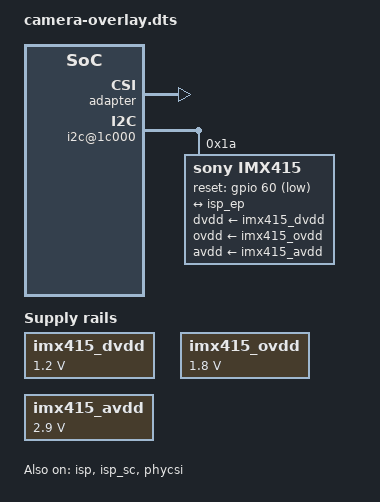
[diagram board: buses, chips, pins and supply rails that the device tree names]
/dts-v1/;
/plugin/;

/*
 * Radxa Zero 2 Pro (Amlogic A311D) + Radxa 4K Camera (IMX415) overlay.
 *
 * Ties together, in one compile+apply unit (avoids needing cross-overlay
 * __symbols__/__fixups__ ordering):
 *   fragment@0: isp_clkc  - the auxiliary clock provider (isp_clkc.ko)
 *               registering the 7 ISP/CSI/gen_clk clocks this kernel's
 *               built-in amlogic,g12b-clkc driver doesn't have. See
 *               isp_clkc.c / PORT_NOTES.md in build-clk/.
 *   fragment@1: isp@ff140000 / isp-adapter@ff650000 / phy-csi@ff650000 -
 *               the vendor ISP/CSI2-PHY hardware nodes (iv009_isp.ko),
 *               register layout from mesong12b.dtsi (khadas-vims-4.9.y),
 *               clocks repointed at &isp_clkc instead of the vendor's
 *               &clkc (which doesn't have them on this kernel).
 *   fragment@2: the imx415 i2c child node under i2c3 (already enabled and
 *               live as /dev/i2c-3 on this board - confirmed via the
 *               official schematic, see below).
 *   fragment@3: three always-on regulator-fixed stand-ins for imx415's
 *               dvdd/ovdd/avdd supplies.
 *
 * Hardware facts below are from Radxa's official
 * radxa_zero_2_pro_v1.2_schematic.pdf (pages 6 "GPIO", 9 "CPU I/O" and 13
 * "Panel/CAM/40PIN"), cross-checked against the live board:
 *   - CSI connector (J5002, 31-pin 0.3mm FPC) MIPI_CSI_D0..D3 + CLKA data/
 *     clock lanes wire straight to the A311D's own CSI PHY pins - these
 *     are silicon-fixed, nothing to configure in DT beyond the phy-csi
 *     node itself (already vendor-defined, unchanged).
 *   - CM_MCLK (J5002 pin 21, "CAM0-CLK") is ball AU36 = GPIOAO_10, and the
 *     function it needs is the SoC's CLK12_24 output.
 *
 *     This is NOT gen_clk. gen_clk (GEN_CLK_EE/GEN_CLK_AO) comes out on
 *     GPIOAO_11 (ball BF16), which this board routes to the *panel*
 *     connector - it is not connected to the camera at all. An earlier
 *     revision of this overlay clocked the sensor from gen_clk on the
 *     assumption that GPIOAO_10's CLK12_24 "was" gen_clk; it can never
 *     have worked.
 *
 *     Mainline's pinctrl-meson-g12a.c has no group for CLK12_24 (on
 *     GPIOAO_10 it models only cec_ao_a=1, cec_ao_b=2, tdm_ao_b_din1=6),
 *     so this cannot be selected with pinctrl-0 from DT. The ao_mclk
 *     module pokes the mux field directly instead; see ao-mclk/ao_mclk.c.
 *     Verified on hardware: with no MCLK the sensor does not ACK at 0x1a
 *     for ANY combination of the reset/power-down/frame-sync GPIOs.
 *   - CM_I2C_SCL/CM_I2C_SDA (connector pins 25/26) are the *same net* as
 *     the 40-pin header's I2C pins 3/5 -> i2c3
 *     (/soc/bus@ffd00000/i2c@1c000), already status=okay by default.
 *     Confirmed live: /dev/i2c-3 maps to ffd1c000.i2c, and its only other
 *     occupant is fusb302 (USB-C PD) at 0x22 - no clash with the sensor's
 *     0x1a. No i2c-enable overlay needed.
 *   - Camera control GPIOs, from schematic page 6 (these were previously
 *     unknown and are now pinned down):
 *         CM_RST_L    -> GPIOA_11 (ball G22) -> &gpio line 60, active low
 *         CM_PWRDN_1  -> GPIOA_10 (ball G25) -> &gpio line 59
 *         CM_FS       -> GPIOA_6  (ball E15) -> &gpio line 55
 *     Only reset is wired up below; empirically the sensor enumerates on
 *     i2c with PWRDN/FS left alone, so they are deliberately not driven.
 *   - The connector takes fixed VCC3.3V/VCC5V with no software power gate,
 *     which is why the regulators in fragment@3 are always-on stand-ins.
 */

/ {
	fragment@0 {
		target-path = "/soc/bus@ff600000/bus@3c000/system-controller@0";

		__overlay__ {
			isp_clkc: isp-clkc {
				compatible = "radxa,zero2pro-isp-clkc";
				#clock-cells = <1>;
				status = "okay";
			};
		};
	};

	fragment@1 {
		target-path = "/";

		__overlay__ {
			isp: isp@ff140000 {
				compatible = "arm, isp";
				reg = <0x0 0xff140000 0x0 0x00040000>;
				reg-names = "ISP";
				isp-efuse = <0xff630038 0x4000>;
				interrupts = <0 142 4>;
				interrupt-names = "ISP";
				temper-buf-size = <24>;
				clocks = <&isp_clkc 0>, <&isp_clkc 1>;
				clock-names = "cts_mipi_isp_clk_composite",
					      "cts_mipi_csi_phy_clk0_composite";
				/* Points at the SCALER, not the adapter -
				 * matches mesong12b.dtsi's isp node
				 * (`link-device = <&isp_sc>`). Pointing this
				 * at &adapter makes am_sc_parse_dt() fail its
				 * of_device_is_compatible(node, "amlogic,
				 * isp-sc") test with "Error match compatible".
				 * Only phy-csi below links to &adapter.
				 */
				link-device = <&isp_sc>;
				status = "okay";

				port {
					isp_ep: endpoint {
						remote-endpoint = <&imx415_ep>;
					};
				};
			};

			/* Scaler block, verbatim from mesong12b.dtsi. Parsed by
			 * system_am_sc.c via the isp node's link-device phandle;
			 * it is not a platform driver of its own, so it needs no
			 * compatible match in any module - just the node.
			 */
			isp_sc: isp-sc@ff655400 {
				compatible = "amlogic, isp-sc";
				reg = <0x0 0xff655400 0x0 0x00001000>;
				reg-names = "isp_sc";
				interrupts = <0 17 4>;
				interrupt-names = "isp_sc";
				status = "okay";
			};

			adapter: isp-adapter@ff650000 {
				compatible = "amlogic, isp-adapter";
				reg = <0x0 0xff650000 0x0 0x00006000>;
				reg-names = "adapter";
				interrupts = <0 179 4>;
				interrupt-names = "adapter-irq";
				mem_alloc = <48>;
				status = "okay";
			};

			phycsi: phy-csi@ff650000 {
				compatible = "amlogic, phy-csi";
				reg = <0x0 0xff650000 0x0 0x00002000>,
				      <0x0 0xff652000 0x0 0x00002000>,
				      <0x0 0xff63c300 0x0 0x00000100>,
				      <0x0 0xff654000 0x0 0x00000100>,
				      <0x0 0xff654400 0x0 0x00000100>;
				reg-names = "csi2_phy0", "csi2_phy1", "aphy_reg",
					    "csi0_host", "csi1_host";
				interrupts = <0 41 4>,
					     <0 42 4>,
					     <0 72 4>,
					     <0 74 4>,
					     <0 87 4>,
					     <0 88 4>;
				interrupt-names = "phy0-irq",
						  "phy1-irq",
						  "csi-host0-intr2",
						  "csi-host0-intr1",
						  "csi-host1-intr2",
						  "csi-host1-intr1";
				link-device = <&adapter>;
				status = "okay";
			};
		};
	};

	fragment@2 {
		/* i2c3 = /soc/bus@ffd00000/i2c@1c000, already enabled by
		 * default on this board (meson-g12-i2c-ee-m3-a.dtbo ships
		 * without .disabled) and confirmed the same physical bus as
		 * the CSI connector's CM_I2C_SCL/SDA net - see header comment.
		 */
		target-path = "/soc/bus@ffd00000/i2c@1c000";

		__overlay__ {
			#address-cells = <1>;
			#size-cells = <0>;

			imx415: camera-sensor@1a {
				compatible = "sony,imx415";
				reg = <0x1a>;

				/*
				 * The sensor's actual INCK is the SoC's
				 * CLK12_24 output on GPIOAO_10, which Linux
				 * does not model as a clock at all (mainline
				 * has neither the clock nor the pinctrl
				 * function) - it is switched on by the
				 * ao_mclk module, not by the clk framework.
				 * imx415.c only ever calls clk_get_rate() on
				 * this, so a fixed-clock stating the true
				 * 24 MHz is both sufficient and honest.
				 *
				 * NOTE: this was previously <&isp_clkc 6>
				 * (gen_clk). That was wrong: gen_clk comes out
				 * on GPIOAO_11, which the schematic shows
				 * going to the *panel* connector, not the
				 * camera - so it could never have clocked the
				 * sensor no matter what it was set to.
				 */
				clocks = <&imx415_inck>;
				clock-names = "inck";

				dvdd-supply = <&imx415_dvdd>;
				ovdd-supply = <&imx415_ovdd>;
				avdd-supply = <&imx415_avdd>;

				/*
				 * CM_RST_L = GPIOA_11 (ball G22), from
				 * schematic page 6; GPIOA_11 is pin/line 60 of
				 * the periphs bank (&gpio). Active low, as the
				 * _L suffix implies. Letting imx415.c own this
				 * means the sensor gets a proper reset pulse
				 * at power-on instead of relying on whatever
				 * state the pin powered up in.
				 * 1 == GPIO_ACTIVE_LOW (avoids needing the
				 * dt-bindings header at overlay build time).
				 */
				reset-gpios = <&gpio 60 1>;

				port {
					imx415_ep: endpoint {
						remote-endpoint = <&isp_ep>;
						/*
						 * 4 lanes @ 720 MHz link freq (= 1440
						 * Mbps per lane), giving 3864x2192 at
						 * 60.038 fps.
						 *
						 * link-frequencies is the DDR *clock*,
						 * i.e. half the lane rate: 1440/2 = 720
						 * MHz. It is unchanged from the 2-lane
						 * configuration - the per-lane rate is
						 * identical, there are simply twice as
						 * many lanes.
						 *
						 * WHY 4 LANES IS REACHABLE
						 * ------------------------
						 * An earlier version of this comment
						 * claimed 4-lane was out of reach,
						 * because imx415.c's only 4-lane mode
						 * (891 Mbps) needs a 27 MHz INCK while
						 * this board's MCLK is 24 MHz. That
						 * conflated two independent things.
						 *
						 * imx415_parse_hw_config() validates the
						 * DT in two separate steps:
						 *
						 *  a) imx415_check_inck() looks up
						 *     imx415_clk_params[] by
						 *     (lane_rate, inck). Lane count is
						 *     NOT part of that key - the
						 *     PLL/INCK block does not care how
						 *     many lanes the serialiser drives.
						 *  b) supported_modes[] is then matched
						 *     on (lanes, lane_rate) to pick the
						 *     mode register list.
						 *
						 * So a 4-lane mode at an already-
						 * supported lane rate needs no new INCK
						 * settings at all, only a register list.
						 * The 1440 Mbps @ 24 MHz entry in
						 * imx415_clk_params[] is already present
						 * and is proven working on this board at
						 * 2 lanes. imx415_mode_4_1440[], added
						 * by this port (see imx415/imx415.c),
						 * supplies the register list. Reachable
						 * triples are now:
						 *
						 *   lane_rate  inck   lanes
						 *    720 MHz   24MHz    2
						 *   1440 MHz   24MHz    2
						 *    891 MHz   27MHz    4  (unreachable)
						 *   1440 MHz   24MHz    4  <- selected
						 *
						 * The 891/27 MHz row remains out of
						 * reach and remains irrelevant: it was
						 * never the only way to get four lanes.
						 *
						 * The connector wires all four data
						 * lanes D0..D3 straight to the A311D's
						 * CSI PHY (see the header comment), so
						 * this is a pure software change at both
						 * ends. Total sensor output bandwidth
						 * goes 2880 -> 5760 Mbps.
						 *
						 * !! COUNTERPART REQUIRED IN isp-module !!
						 * The CSI-2 receiver is not configured
						 * from this endpoint.
						 * isp-module/src/driver/sensor/V4L2_drv.c
						 * hardcodes
						 *     #define IMX415_LANES 2
						 * and passes it to am_mipi_init(). It
						 * must become 4 in lockstep with this
						 * property, or the PHY will listen on
						 * two lanes while the sensor transmits
						 * on four. IMX415_HMAX (4510) is
						 * unchanged; IMX415_FPS_Q8 becomes
						 * ( 60 * 256 ).
						 *
						 * The 2-lane hold that used to be
						 * documented here has been lifted: the
						 * mid-frame stall was the ISP context
						 * sequence never being loaded, not a MIPI
						 * problem, and 2-lane capture is now stable
						 * at 30 fps. Four lanes is the reason this
						 * mode exists for shot-vision:
						 *
						 * ROLLING-SHUTTER SKEW
						 * --------------------
						 * Skew is (active rows) * (line period),
						 * and the line period is HMAX / 72 MHz.
						 * It is NOT the frame period, and adding
						 * vertical blanking does not change it.
						 *
						 *   2 lanes: HMAX 1066 -> 14.806 us
						 *            2192 * 14.806 us = 32.45 ms
						 *   4 lanes: HMAX  533 ->  7.403 us
						 *            2192 *  7.403 us = 16.23 ms
						 *
						 * Halving the line period halves the skew,
						 * which is the whole point: the sensor is
						 * reading continuously (58 blank rows in
						 * 2250, 2.6 %), so there is no idle time to
						 * reclaim and HMAX is the only lever.
						 *
						 * 16.23 ms is the floor for a full-height
						 * readout on this board. HMAX cannot go
						 * below 483 (3864 px * 10 bit / 5760 Mbps =
						 * 6.708 us of payload), and 24 MHz INCK
						 * caps the lane rate at 1440 Mbps, so the
						 * remaining 9 % is not worth the loss of
						 * link margin. Going meaningfully below
						 * 16 ms requires reading fewer ROWS -
						 * 2x2 binning or a vertical window - not a
						 * faster link.
						 *
						 * DECOUPLING FRAME RATE FROM SKEW
						 * -------------------------------
						 * HMAX sets the skew; VMAX sets the frame
						 * rate. V4L2_CID_VBLANK is writable (see
						 * imx415.c) and programs VMAX at runtime,
						 * so if the ISP cannot sustain 60 fps,
						 * raising VBLANK drops the frame rate while
						 * leaving the 16.23 ms readout untouched.
						 * That is still strictly better than the
						 * 2-lane 30 fps path it replaces: same
						 * frame rate, half the skew.
						 */
						data-lanes = <1 2 3 4>;
						link-frequencies = /bits/ 64 <720000000>;
					};
				};
			};
		};
	};

	fragment@3 {
		target-path = "/";

		__overlay__ {
			/* Always-on stand-ins, not real switched rails: the
			 * schematic shows the CSI connector getting fixed
			 * VCC3.3V/VCC5V directly (no software power-gating
			 * GPIO on this connector) - the camera module
			 * presumably regulates its own dvdd/ovdd/avdd
			 * on-module from that. CONFIG_REGULATOR_DUMMY is not
			 * enabled on this kernel (checked
			 * /proc/config.gz), so devm_regulator_bulk_get()
			 * needs *something* to resolve rather than silently
			 * falling back - these exist to satisfy that, not to
			 * model real board power sequencing.
			 */
			/* Stands in for the SoC's CLK12_24 output, which
			 * ao_mclk routes to GPIOAO_10. See the sensor node's
			 * clocks property for why this is a fixed-clock. */
			imx415_inck: clock-imx415-inck {
				compatible = "fixed-clock";
				#clock-cells = <0>;
				clock-frequency = <24000000>;
				clock-output-names = "imx415_inck";
			};

			imx415_dvdd: regulator-imx415-dvdd {
				compatible = "regulator-fixed";
				regulator-name = "imx415_dvdd";
				regulator-min-microvolt = <1200000>;
				regulator-max-microvolt = <1200000>;
				regulator-always-on;
			};

			imx415_ovdd: regulator-imx415-ovdd {
				compatible = "regulator-fixed";
				regulator-name = "imx415_ovdd";
				regulator-min-microvolt = <1800000>;
				regulator-max-microvolt = <1800000>;
				regulator-always-on;
			};

			imx415_avdd: regulator-imx415-avdd {
				compatible = "regulator-fixed";
				regulator-name = "imx415_avdd";
				regulator-min-microvolt = <2900000>;
				regulator-max-microvolt = <2900000>;
				regulator-always-on;
			};
		};
	};
};
